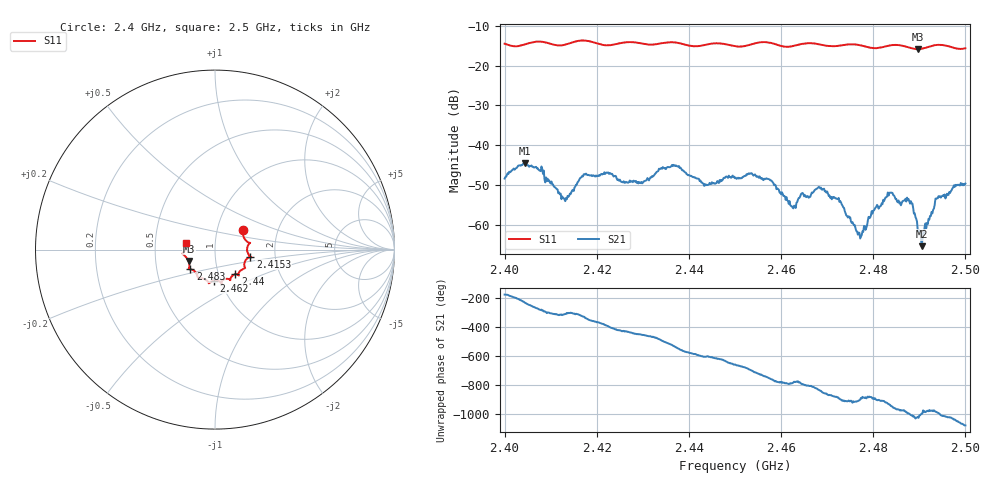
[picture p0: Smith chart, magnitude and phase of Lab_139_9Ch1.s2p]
# Hz S RI R 50
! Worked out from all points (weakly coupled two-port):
!   601 points, 2.4 GHz to 2.5 GHz, reference 50 ohm
!   highest |S21| = -44.50 dB at 2.4043 GHz (marker M1); lowest = -65.3 dB at 2.4905 GHz (marker M2)
!   lowest |S11| = -15.9 dB at 2.4897 GHz (marker M3), VSWR 1.38, Z = 36.9 - j4.83 ohm
!   |S11| at or under -10 dB: start of sweep to end of sweep
!   S12 and S22 are empty: the file has one direction only
!   S11 on the Smith chart (normalised r, x): 2.4 GHz: 1.33, +0.29; 2.4153 GHz: 1.48, -0.12; 2.44 GHz: 1.21, -0.34; 2.462 GHz: 0.93, -0.33; 2.483 GHz: 0.74, -0.17; 2.5 GHz: 0.72, +0.06
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2.4e9  0.155 0.1065  -0.00381 -0.000283  0 0  0 0
2.404333e9  0.1781 0.045  -0.0038 0.00458  0 0  0 0
2.412833e9  0.1807 -0.0125  0.0015 0.00156  0 0  0 0
2.415333e9  0.1963 -0.0388  0.00203 0.00225  0 0  0 0
2.416667e9  0.2018 -0.0426  0.00316 0.00243  0 0  0 0
2.4295e9  0.1578 -0.1074  -0.000122 -0.00334  0 0  0 0
2.433333e9  0.1311 -0.1337  -0.00255 -0.004  0 0  0 0
2.44e9  0.1142 -0.1368  -0.00334 0.00261  0 0  0 0
2.443833e9  0.0862 -0.1621  -0.00142 0.00287  0 0  0 0
2.45e9  0.0648 -0.1626  0.00184 0.00339  0 0  0 0
2.457333e9  0.0386 -0.191  0.00318 -0.002  0 0  0 0
2.462e9  -0.0053 -0.1732  0.000656 -0.00165  0 0  0 0
2.466667e9  -0.0343 -0.1875  -2.41e-05 -0.00255  0 0  0 0
2.4725e9  -0.0748 -0.1607  -0.00217 -0.000265  0 0  0 0
2.477e9  -0.096 -0.153  -0.00079 9.36e-05  0 0  0 0
2.483e9  -0.1375 -0.1095  -0.00207 0.000932  0 0  0 0
2.483333e9  -0.1398 -0.1093  -0.00199 0.00123  0 0  0 0
2.487833e9  -0.1427 -0.0883  0.000352 0.00195  0 0  0 0
2.489667e9  -0.1474 -0.0638  0.000432 0.000725  0 0  0 0
2.4905e9  -0.1538 -0.0521  8.91e-05 0.000534  0 0  0 0
2.494e9  -0.1804 -0.0231  0.000104 0.00216  0 0  0 0
2.5e9  -0.1601 0.0393  0.00331 -9.07e-07  0 0  0 0
